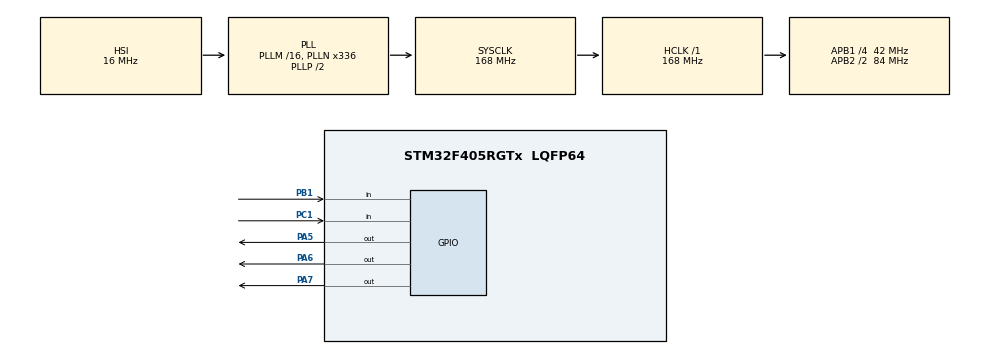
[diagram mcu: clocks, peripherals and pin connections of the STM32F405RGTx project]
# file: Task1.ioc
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Mcu.Family=STM32F4
Mcu.Name=STM32F405RGTx
Mcu.Package=LQFP64
NVIC.PriorityGroup=NVIC_PRIORITYGROUP_4
NVIC.TIM3_IRQn=true\:0\:0\:false\:false\:true\:true\:true\:true
NVIC.TIM4_IRQn=true\:0\:0\:false\:false\:true\:true\:true\:true
PA13.Mode=Serial_Wire
PA13.Signal=SYS_JTMS-SWDIO
PA14.Mode=Serial_Wire
PA14.Signal=SYS_JTCK-SWCLK
PA5.GPIO_PuPd=GPIO_PULLDOWN
PA5.Signal=GPIO_Output
PA6.GPIO_PuPd=GPIO_PULLDOWN
PA6.Signal=GPIO_Output
PA7.GPIO_PuPd=GPIO_PULLDOWN
PA7.Signal=GPIO_Output
PB1.GPIO_PuPd=GPIO_PULLUP
PB1.Signal=GPIO_Input
PC1.GPIO_PuPd=GPIO_PULLUP
PC1.Signal=GPIO_Input
ProjectManager.HeapSize=0x200
ProjectManager.StackSize=0x400
ProjectManager.TargetToolchain=MDK-ARM V5.32
RCC.48MHZClocksFreq_Value=84000000
RCC.AHBFreq_Value=168000000
RCC.APB1CLKDivider=RCC_HCLK_DIV4
RCC.APB1Freq_Value=42000000
RCC.APB1TimFreq_Value=84000000
RCC.APB2CLKDivider=RCC_HCLK_DIV2
RCC.APB2Freq_Value=84000000
RCC.APB2TimFreq_Value=168000000
RCC.CortexFreq_Value=168000000
RCC.HCLKFreq_Value=168000000
RCC.HSE_VALUE=25000000
RCC.HSI_VALUE=16000000
RCC.LSE_VALUE=32768
RCC.PLLN=336
RCC.SYSCLKFreq_VALUE=168000000
RCC.SYSCLKSource=RCC_SYSCLKSOURCE_PLLCLK
RCC.VCOOutputFreq_Value=336000000
TIM3.AutoReloadPreload=TIM_AUTORELOAD_PRELOAD_ENABLE
TIM3.Period=49
TIM3.Prescaler=8399
TIM4.AutoReloadPreload=TIM_AUTORELOAD_PRELOAD_ENABLE
TIM4.Period=9999
TIM4.Prescaler=8399
VP_TIM3_VS_ClockSourceINT.Mode=Internal
VP_TIM4_VS_ClockSourceINT.Mode=Internal
board=custom

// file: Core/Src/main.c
/* USER CODE BEGIN Header */
/**
  ******************************************************************************
  * @file           : main.c
  * @brief          : Main program body
  ******************************************************************************
  * @attention
  *
  * Copyright (c) 2022 STMicroelectronics.
  * All rights reserved.
  *
  * This software is licensed under terms that can be found in the LICENSE file
  * in the root directory of this software component.
  * If no LICENSE file comes with this software, it is provided AS-IS.
  *
  ******************************************************************************
  */
/* USER CODE END Header */
#include "main.h"

/* USER CODE BEGIN Includes */
# include "key.h"
/* USER CODE END Includes */

 TIM_HandleTypeDef htim3;
TIM_HandleTypeDef htim4;

void SystemClock_Config(void);
static void MX_GPIO_Init(void);
static void MX_TIM3_Init(void);
static void MX_TIM4_Init(void);

/* USER CODE BEGIN 0 */
/*自动模式automatic 1，手动模式Manual -1*/
#define Manual -1
#define automatic 1
/*全局变量*/
uint8_t key = 0;           //按键状态默认0：代表没有按键按下
int mode_key1 = 1;
uint8_t mode_key2 = 1;
uint8_t time;
int ABC = 0;
/* USER CODE END 0 */

int main(void)
{

  /* MCU Configuration--------------------------------------------------------*/

  /* Reset of all peripherals, Initializes the Flash interface and the Systick. */
  HAL_Init();

  /* Configure the system clock */
  SystemClock_Config();

  /* Initialize all configured peripherals */
  MX_GPIO_Init();
  MX_TIM3_Init();
  MX_TIM4_Init();
  /* USER CODE BEGIN 2 */
	HAL_TIM_Base_Start_IT(&htim3);//开启定时器3中断
	HAL_TIM_Base_Start_IT(&htim4);//开启定时器4中断
  /* USER CODE END 2 */

  /* Infinite loop */
  while (1)
  {

    /* USER CODE BEGIN 3 */
		switch(mode_key1)
		{
			case Manual:	//手动模式
				if(mode_key2==1)	//正弦波
				{
					HAL_GPIO_WritePin(GPIOA,GPIO_PIN_5,GPIO_PIN_RESET);//ABC 010
					HAL_GPIO_WritePin(GPIOA,GPIO_PIN_6,GPIO_PIN_SET);
					HAL_GPIO_WritePin(GPIOA,GPIO_PIN_7,GPIO_PIN_RESET);
					ABC=1;
				}
				else if(mode_key2==2)	//顶部失真
				{
					HAL_GPIO_WritePin(GPIOA,GPIO_PIN_5,GPIO_PIN_RESET);//ABC 001
					HAL_GPIO_WritePin(GPIOA,GPIO_PIN_6,GPIO_PIN_RESET);
					HAL_GPIO_WritePin(GPIOA,GPIO_PIN_7,GPIO_PIN_SET);
					ABC=2;
				}
				else if(mode_key2==3)	//底部失真
				{
					HAL_GPIO_WritePin(GPIOA,GPIO_PIN_5,GPIO_PIN_RESET);//ABC 000
					HAL_GPIO_WritePin(GPIOA,GPIO_PIN_6,GPIO_PIN_RESET);
					HAL_GPIO_WritePin(GPIOA,GPIO_PIN_7,GPIO_PIN_RESET);
					ABC=3;
				}
				else if(mode_key2==4)	//双向失真
				{
					HAL_GPIO_WritePin(GPIOA,GPIO_PIN_5,GPIO_PIN_SET);//ABC 110
					HAL_GPIO_WritePin(GPIOA,GPIO_PIN_6,GPIO_PIN_SET);
					HAL_GPIO_WritePin(GPIOA,GPIO_PIN_7,GPIO_PIN_RESET);
					ABC=4;
				}
//				else	//交越失真
//				{
//					HAL_GPIO_WritePin(GPIOA,GPIO_PIN_5,GPIO_PIN_SET);//ABC 111
//					HAL_GPIO_WritePin(GPIOA,GPIO_PIN_6,GPIO_PIN_SET);
//					HAL_GPIO_WritePin(GPIOA,GPIO_PIN_7,GPIO_PIN_SET);
//					ABC=5;
//				}
				break;
			case automatic:	//自动模式
				if(time>20)time=0;

				break;
		}
  }
  /* USER CODE END 3 */
}

void SystemClock_Config(void)
{
  RCC_OscInitTypeDef RCC_OscInitStruct = {0};
  RCC_ClkInitTypeDef RCC_ClkInitStruct = {0};

  /** Configure the main internal regulator output voltage
  */
  __HAL_RCC_PWR_CLK_ENABLE();
  __HAL_PWR_VOLTAGESCALING_CONFIG(PWR_REGULATOR_VOLTAGE_SCALE1);

  /** Initializes the RCC Oscillators according to the specified parameters
  * in the RCC_OscInitTypeDef structure.
  */
  RCC_OscInitStruct.OscillatorType = RCC_OSCILLATORTYPE_HSI;
  RCC_OscInitStruct.HSIState = RCC_HSI_ON;
  RCC_OscInitStruct.HSICalibrationValue = RCC_HSICALIBRATION_DEFAULT;
  RCC_OscInitStruct.PLL.PLLState = RCC_PLL_ON;
  RCC_OscInitStruct.PLL.PLLSource = RCC_PLLSOURCE_HSI;
  RCC_OscInitStruct.PLL.PLLM = 16;
  RCC_OscInitStruct.PLL.PLLN = 336;
  RCC_OscInitStruct.PLL.PLLP = RCC_PLLP_DIV2;
  RCC_OscInitStruct.PLL.PLLQ = 4;
  if (HAL_RCC_OscConfig(&RCC_OscInitStruct) != HAL_OK)
  {
    Error_Handler();
  }

  /** Initializes the CPU, AHB and APB buses clocks
  */
  RCC_ClkInitStruct.ClockType = RCC_CLOCKTYPE_HCLK|RCC_CLOCKTYPE_SYSCLK
                              |RCC_CLOCKTYPE_PCLK1|RCC_CLOCKTYPE_PCLK2;
  RCC_ClkInitStruct.SYSCLKSource = RCC_SYSCLKSOURCE_PLLCLK;
  RCC_ClkInitStruct.AHBCLKDivider = RCC_SYSCLK_DIV1;
  RCC_ClkInitStruct.APB1CLKDivider = RCC_HCLK_DIV4;
  RCC_ClkInitStruct.APB2CLKDivider = RCC_HCLK_DIV2;

  if (HAL_RCC_ClockConfig(&RCC_ClkInitStruct, FLASH_LATENCY_5) != HAL_OK)
  {
    Error_Handler();
  }
}

static void MX_TIM3_Init(void)
{

  TIM_ClockConfigTypeDef sClockSourceConfig = {0};
  TIM_MasterConfigTypeDef sMasterConfig = {0};

  htim3.Instance = TIM3;
  htim3.Init.Prescaler = 8399;
  htim3.Init.CounterMode = TIM_COUNTERMODE_UP;
  htim3.Init.Period = 49;
  htim3.Init.ClockDivision = TIM_CLOCKDIVISION_DIV1;
  htim3.Init.AutoReloadPreload = TIM_AUTORELOAD_PRELOAD_ENABLE;
  if (HAL_TIM_Base_Init(&htim3) != HAL_OK)
  {
    Error_Handler();
  }
  sClockSourceConfig.ClockSource = TIM_CLOCKSOURCE_INTERNAL;
  if (HAL_TIM_ConfigClockSource(&htim3, &sClockSourceConfig) != HAL_OK)
  {
    Error_Handler();
  }
  sMasterConfig.MasterOutputTrigger = TIM_TRGO_RESET;
  sMasterConfig.MasterSlaveMode = TIM_MASTERSLAVEMODE_DISABLE;
  if (HAL_TIMEx_MasterConfigSynchronization(&htim3, &sMasterConfig) != HAL_OK)
  {
    Error_Handler();
  }

}

static void MX_TIM4_Init(void)
{

  TIM_ClockConfigTypeDef sClockSourceConfig = {0};
  TIM_MasterConfigTypeDef sMasterConfig = {0};

  htim4.Instance = TIM4;
  htim4.Init.Prescaler = 8399;
  htim4.Init.CounterMode = TIM_COUNTERMODE_UP;
  htim4.Init.Period = 9999;
  htim4.Init.ClockDivision = TIM_CLOCKDIVISION_DIV1;
  htim4.Init.AutoReloadPreload = TIM_AUTORELOAD_PRELOAD_ENABLE;
  if (HAL_TIM_Base_Init(&htim4) != HAL_OK)
  {
    Error_Handler();
  }
  sClockSourceConfig.ClockSource = TIM_CLOCKSOURCE_INTERNAL;
  if (HAL_TIM_ConfigClockSource(&htim4, &sClockSourceConfig) != HAL_OK)
  {
    Error_Handler();
  }
  sMasterConfig.MasterOutputTrigger = TIM_TRGO_RESET;
  sMasterConfig.MasterSlaveMode = TIM_MASTERSLAVEMODE_DISABLE;
  if (HAL_TIMEx_MasterConfigSynchronization(&htim4, &sMasterConfig) != HAL_OK)
  {
    Error_Handler();
  }

}

static void MX_GPIO_Init(void)
{
  GPIO_InitTypeDef GPIO_InitStruct = {0};

  /* GPIO Ports Clock Enable */
  __HAL_RCC_GPIOC_CLK_ENABLE();
  __HAL_RCC_GPIOA_CLK_ENABLE();
  __HAL_RCC_GPIOB_CLK_ENABLE();

  /*Configure GPIO pin Output Level */
  HAL_GPIO_WritePin(GPIOA, GPIO_PIN_5|GPIO_PIN_6|GPIO_PIN_7, GPIO_PIN_RESET);

  /*Configure GPIO pin : PC1 */
  GPIO_InitStruct.Pin = GPIO_PIN_1;
  GPIO_InitStruct.Mode = GPIO_MODE_INPUT;
  GPIO_InitStruct.Pull = GPIO_PULLUP;
  HAL_GPIO_Init(GPIOC, &GPIO_InitStruct);

  /*Configure GPIO pins : PA5 PA6 PA7 */
  GPIO_InitStruct.Pin = GPIO_PIN_5|GPIO_PIN_6|GPIO_PIN_7;
  GPIO_InitStruct.Mode = GPIO_MODE_OUTPUT_PP;
  GPIO_InitStruct.Pull = GPIO_PULLDOWN;
  GPIO_InitStruct.Speed = GPIO_SPEED_FREQ_LOW;
  HAL_GPIO_Init(GPIOA, &GPIO_InitStruct);

  /*Configure GPIO pin : PB1 */
  GPIO_InitStruct.Pin = GPIO_PIN_1;
  GPIO_InitStruct.Mode = GPIO_MODE_INPUT;
  GPIO_InitStruct.Pull = GPIO_PULLUP;
  HAL_GPIO_Init(GPIOB, &GPIO_InitStruct);

}

/* USER CODE BEGIN 4 */
//重新定义定时器中断函数
void HAL_TIM_PeriodElapsedCallback(TIM_HandleTypeDef *htim){
	if(htim->Instance == htim3.Instance){
		key=KEY_Scan();		//得到按键状态
		if(mode_key1==-1)
		{
			if(key==1)
			{
				mode_key2++;
				if(mode_key2 == 5)
					mode_key2 = 1;
			}
			else if(key==2)
			{
				mode_key2--;
				if(mode_key2 == 0)
					mode_key2 = 4;
			}
		}
		if(key == 3)
		{
			mode_key1 = -1*mode_key1;
			if(mode_key1 == -1)
				mode_key2 = 1;
			else
				time = 0;
		}
	}
	if(htim->Instance == htim4.Instance){
		time++;
		if(time <= 5)
		{
			//正常模式
			HAL_GPIO_WritePin(GPIOA,GPIO_PIN_5,GPIO_PIN_RESET);//ABC 010
			HAL_GPIO_WritePin(GPIOA,GPIO_PIN_6,GPIO_PIN_SET);
			HAL_GPIO_WritePin(GPIOA,GPIO_PIN_7,GPIO_PIN_RESET);
			ABC=1;//debug用
		}
		else if(time <= 10)
		{
			//顶部失真
			HAL_GPIO_WritePin(GPIOA,GPIO_PIN_5,GPIO_PIN_RESET);//ABC 001
			HAL_GPIO_WritePin(GPIOA,GPIO_PIN_6,GPIO_PIN_RESET);
			HAL_GPIO_WritePin(GPIOA,GPIO_PIN_7,GPIO_PIN_SET);
			ABC=2;//debug用
		}
		else if(time <= 15)
		{
			//底部失真
			HAL_GPIO_WritePin(GPIOA,GPIO_PIN_5,GPIO_PIN_RESET);//ABC 000
			HAL_GPIO_WritePin(GPIOA,GPIO_PIN_6,GPIO_PIN_RESET);
			HAL_GPIO_WritePin(GPIOA,GPIO_PIN_7,GPIO_PIN_RESET);
			ABC=3;//debug用
		}
		else if(time <= 20)
		{
			HAL_GPIO_WritePin(GPIOA,GPIO_PIN_5,GPIO_PIN_SET);//ABC 110
			HAL_GPIO_WritePin(GPIOA,GPIO_PIN_6,GPIO_PIN_SET);
			HAL_GPIO_WritePin(GPIOA,GPIO_PIN_7,GPIO_PIN_RESET);
			ABC=4;//debug用
		}
	}
}

/* USER CODE END 4 */

void Error_Handler(void)
{
  __disable_irq();
  while (1)
  {
  }
}
